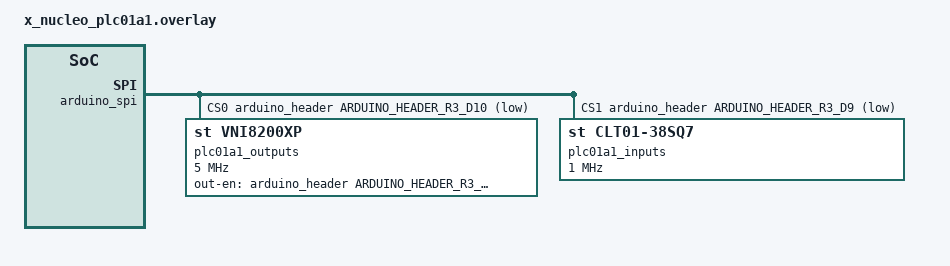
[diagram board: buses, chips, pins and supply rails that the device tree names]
/*
 * Copyright (c) 2026 Sebastian Balling
 *
 * SPDX-License-Identifier: Apache-2.0
 *
 * ST X-NUCLEO-PLC01A1 industrial I/O expansion board (Arduino UNO R3 header),
 * see UM1918.
 *
 *   VNI8200XP   8 outputs  SPI CS2 = D10, OUT_EN = D6
 *   CLT01-38SQ7 8 inputs   SPI CS1 = D9
 *   SPI         D13 = SCK, D12 = MISO, D11 = MOSI
 *               (D3 is an alternative SCK via the unpopulated R13)
 *
 * The VNI8200XP watchdog is enabled on this board (160 ms nominal, 120 ms
 * worst case) and its WD input is wired to CS1. The outputs are switched off
 * unless the inputs (CLT01-38SQ7) are read at least every ~100 ms.
 *
 * FAULT, TWARN and PG of the VNI8200XP only drive LEDs on the board; the
 * same information is available in the SPI fault frame.
 *
 * Both chips are exposed as GPIO controllers:
 *   plc01a1_outputs: pin 0..7 = OUT1..OUT8
 *   plc01a1_inputs:  pin 0..7 = IN1..IN8
 */

#include <zephyr/dt-bindings/gpio/arduino-header-r3.h>
#include <zephyr/dt-bindings/gpio/gpio.h>

&arduino_spi {
	status = "okay";
	cs-gpios = <&arduino_header ARDUINO_HEADER_R3_D10 (GPIO_ACTIVE_LOW | GPIO_PULL_UP)>,
		   <&arduino_header ARDUINO_HEADER_R3_D9 (GPIO_ACTIVE_LOW | GPIO_PULL_UP)>;

	plc01a1_outputs: gpio@0 {
		compatible = "st,vni8200xp";
		reg = <0>;
		spi-max-frequency = <5000000>;
		gpio-controller;
		#gpio-cells = <2>;
		ngpios = <8>;
		out-en-gpios = <&arduino_header ARDUINO_HEADER_R3_D6 GPIO_ACTIVE_HIGH>;
	};

	plc01a1_inputs: gpio@1 {
		compatible = "st,clt01-38sq7";
		reg = <1>;
		spi-max-frequency = <1000000>;
		gpio-controller;
		#gpio-cells = <2>;
		ngpios = <8>;
	};
};
